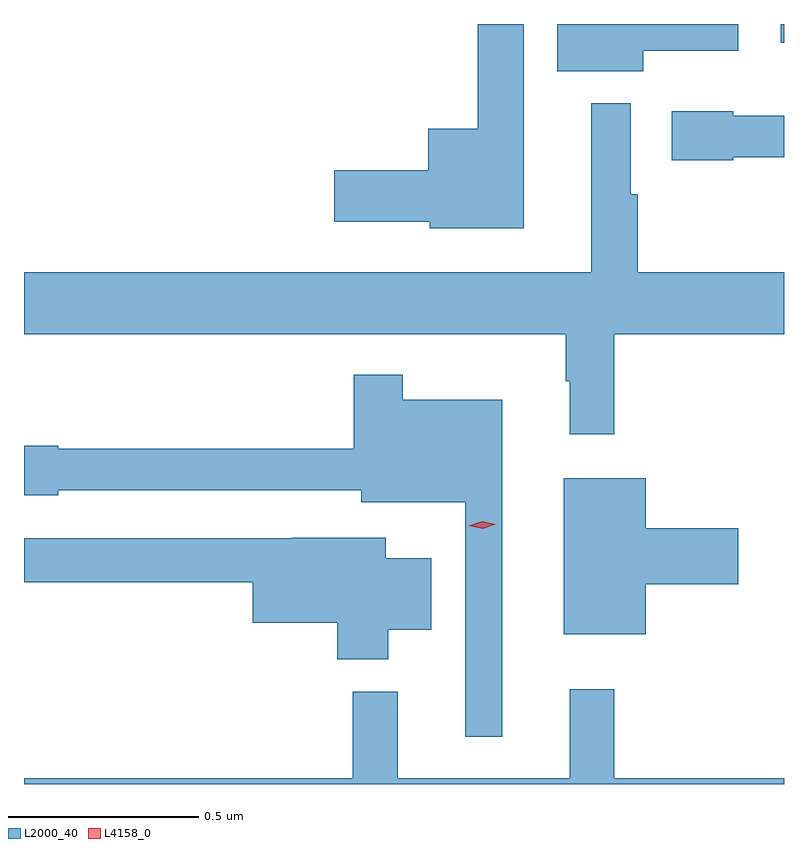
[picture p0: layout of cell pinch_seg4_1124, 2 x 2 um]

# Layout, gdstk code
import gdstk
lib = gdstk.Library(unit=1e-6, precision=1e-09)
def R(c, l, rs):  # rectangles x0, y0, x1, y1
    for r in rs: c.add(gdstk.rectangle(r[:2], r[2:], *l))
def P(c, l, *ps):  # polygons
    for p in ps: c.add(gdstk.Polygon(p, *l))
L2000_40 = (2000, 40)
L4158_0 = (4158, 0)

pinch_seg4_1124 = lib.new_cell('pinch_seg4_1124')
R(pinch_seg4_1124, L2000_40, [(432.69,808.244,432.698,808.293)])
P(pinch_seg4_1124, L2000_40, [(432.328,808.223),(432.577,808.223),(432.577,808.293),(432.101,808.293),(432.101,808.169),(432.328,808.169)],
  [(432.013,808.293),(431.892,808.293),(431.892,808.018),(431.762,808.018),(431.762,807.908),(431.514,807.908),(431.514,807.773),(431.766,807.773),(431.766,807.755),(432.013,807.755)],
  [(432.251,807.476),(432.698,807.476),(432.698,807.64),(432.313,807.64),(432.313,807.845),(432.295,807.845),(432.295,808.084),(432.191,808.084),(432.191,807.64),(430.698,807.64),(430.698,807.476),(432.123,807.476),(432.123,807.353),(432.134,807.353),(432.134,807.213),(432.251,807.213)],
  [(432.564,807.942),(432.698,807.942),(432.698,808.052),(432.564,808.052),(432.564,808.063),(432.402,808.063),(432.402,807.934),(432.564,807.934)],
  [(431.956,807.304),(431.695,807.304),(431.695,807.37),(431.566,807.37),(431.566,807.175),(430.788,807.175),(430.788,807.183),(430.698,807.183),(430.698,807.053),(430.788,807.053),(430.788,807.066),(431.585,807.066),(431.585,807.035),(431.859,807.035),(431.859,806.418),(431.956,806.418)],
  [(432.334,806.819),(432.577,806.819),(432.577,806.966),(432.334,806.966),(432.334,807.097),(432.119,807.097),(432.119,806.687),(432.334,806.687)],
  [(431.656,806.699),(431.77,806.699),(431.77,806.887),(431.65,806.887),(431.65,806.941),(431.404,806.941),(431.404,806.94),(430.698,806.94),(430.698,806.824),(431.3,806.824),(431.3,806.717),(431.522,806.717),(431.522,806.621),(431.656,806.621)],
  [(432.698,806.308),(432.251,806.308),(432.251,806.542),(432.134,806.542),(432.134,806.308),(431.681,806.308),(431.681,806.536),(431.563,806.536),(431.563,806.308),(430.698,806.308),(430.698,806.293),(432.698,806.293)])
P(pinch_seg4_1124, L4158_0, [(431.905,806.965),(431.869,806.973),(431.869,806.973),(431.869,806.973),(431.904,806.985),(431.94,806.977),(431.94,806.977),(431.94,806.976)])

lib.write_gds('pinch_seg4_1124.gds')
